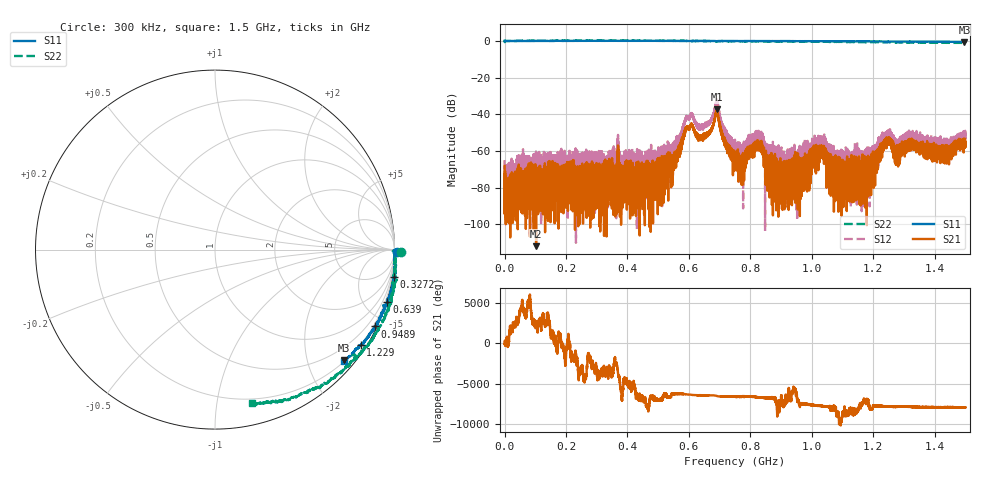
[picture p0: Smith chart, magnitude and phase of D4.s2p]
!Agilent Technologies,N5230C,SG49000117,A.08.50.07
!Agilent N5230C: A.08.50.07
!Date: Thursday, December 07, 2023 06:07:02
!Correction: S11(Full 2 Port(1,2))
!S21(Full 2 Port(1,2))
!S12(Full 2 Port(1,2))
!S22(Full 2 Port(1,2))
!S2P File: Measurements: S11, S21, S12, S22:
# Hz S  RI  R 50
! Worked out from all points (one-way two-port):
!   20001 points, 300 kHz to 1.5 GHz, reference 50 ohm
!   highest |S21| = -37.34 dB at 691 MHz (marker M1); lowest = -111.8 dB at 102.8 MHz (marker M2)
!   lowest |S11| = -0.5 dB at 1.497 GHz (marker M3), VSWR 36.41, Z = 11.4 - j134 ohm
!   |S11| at or under -10 dB: nowhere
!   |S22| runs from -1.1 to 0.3 dB; largest |S21 - S12| = 0.013
!   S11 on the Smith chart (normalised r, x): 300 kHz: -72, -62; 327.2 MHz: -1, -13; 639 MHz: -0.07, -6.70; 948.9 MHz: 0.10, -4.39; 1.229 GHz: 0.18, -3.34; 1.5 GHz: 0.22, -2.69
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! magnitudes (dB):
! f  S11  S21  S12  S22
! 300 kHz  0.1  -68.0  -64.9  0.3
! 102.8 MHz  0.0  -111.8  -76.1  0.1
! 250.3 MHz  0.1  -72.4  -71.6  0.2
! 327.2 MHz  0.1  -71.4  -81.5  0.2
! 500.2 MHz  0.1  -71.1  -63.7  0.1
! 551.2 MHz  0.1  -67.7  -63.4  0.1
! 593.4 MHz  0.0  -47.8  -41.4  0.0
! 639 MHz  0.0  -52.5  -47.4  0.0
! 691 MHz  -0.1  -37.3  -32.2  -0.3
! 750.1 MHz  0.0  -64.2  -61.6  -0.1
! 829.7 MHz  0.0  -55.2  -52.5  -0.2
! 889.8 MHz  -0.1  -77.1  -71.5  -0.3
! 948.9 MHz  -0.1  -66.8  -61.7  -0.3
! 1 GHz  -0.1  -60.3  -57.7  -0.4
! 1.035 GHz  -0.1  -58.3  -55.5  -0.4
! 1.108 GHz  -0.2  -68.6  -68.6  -0.6
! 1.185 GHz  -0.2  -68.1  -67.0  -0.6
! 1.229 GHz  -0.3  -55.8  -54.9  -0.7
! 1.25 GHz  -0.3  -55.5  -52.0  -0.7
! 1.278 GHz  -0.3  -60.7  -58.4  -0.8
! 1.497 GHz  -0.5  -53.5  -53.7  -1.0
! 1.5 GHz  -0.5  -56.1  -49.9  -1.1
